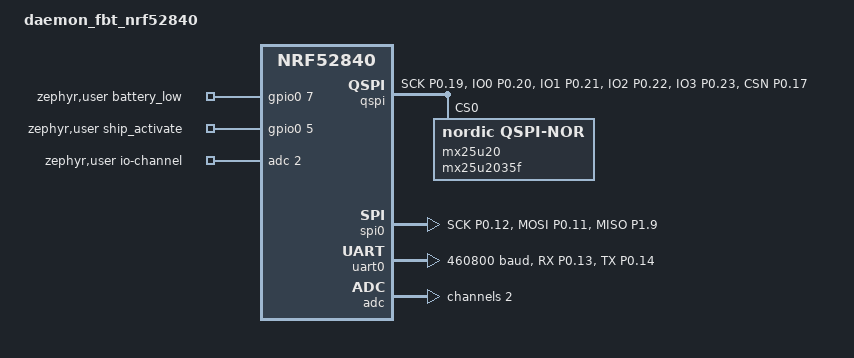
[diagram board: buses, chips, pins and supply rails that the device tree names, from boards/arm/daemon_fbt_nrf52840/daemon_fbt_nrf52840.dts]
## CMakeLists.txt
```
cmake_minimum_required(VERSION 3.20.0)
find_package(Zephyr REQUIRED HINTS $ENV{ZEPHYR_BASE})

project(daemon_fbt_v1)

zephyr_library_include_directories(${ZEPHYR_BASE}/drivers/flash)

FILE(GLOB sources src/*.c)
target_sources(app PRIVATE ${sources} ${flash_srcs})
```

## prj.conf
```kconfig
CONFIG_LOG=y
CONFIG_CLOCK_CONTROL_NRF_K32SRC_RC=y
CONFIG_SPI=y
CONFIG_PINCTRL=y
CONFIG_ESB=y
CONFIG_FLASH=y
CONFIG_GPIO=y
CONFIG_NORDIC_QSPI_NOR=y
CONFIG_STDOUT_CONSOLE=y
CONFIG_SERIAL=y
CONFIG_UART_ASYNC_API=y
CONFIG_UART_INTERRUPT_DRIVEN=y
CONFIG_CONSOLE=y
CONFIG_UART_CONSOLE=y
CONFIG_UART_LINE_CTRL=y
CONFIG_ADC_ASYNC=y
CONFIG_ADC=y

# stuff for DFU over UART
CONFIG_BOOTLOADER_MCUBOOT=y
CONFIG_IMG_MANAGER=y
CONFIG_MCUMGR_GRP_IMG=y
CONFIG_MCUMGR_GRP_OS=y
CONFIG_IMG_ERASE_PROGRESSIVELY=y
CONFIG_SYSTEM_WORKQUEUE_STACK_SIZE=2304
CONFIG_MAIN_STACK_SIZE=2048
CONFIG_FLASH_MAP=y
CONFIG_NET_BUF=y
CONFIG_ZCBOR=y
CONFIG_CRC=y
CONFIG_MCUMGR=y
CONFIG_STREAM_FLASH=y
CONFIG_BASE64=y
CONFIG_MCUMGR_TRANSPORT_UART=y
CONFIG_SHELL=y
CONFIG_SHELL_BACKEND_SERIAL=n
CONFIG_MCUMGR_GRP_SHELL=y
CONFIG_SHELL_BACKEND_DUMMY=y
CONFIG_FLASH_PAGE_LAYOUT=y
CONFIG_MCUBOOT_UTIL_LOG_LEVEL_WRN=y
```

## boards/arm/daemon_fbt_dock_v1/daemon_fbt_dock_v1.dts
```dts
// Copyright (c) 2024 Nordic Semiconductor ASA
// SPDX-License-Identifier: Apache-2.0

/dts-v1/;
#include <nordic/nrf52820_qdaa.dtsi>

/ {
	model = "daemon_fbt_dock_v1";
	compatible = "daemon,daemon-fbt-dock-v1";

	chosen {
		zephyr,sram = &sram0;
		zephyr,flash = &flash0;
		zephyr,code-partition = &slot0_partition;
	};

	zephyr,user {
		led-gpios = <&gpio0 18 0>;
	};
};

&flash0 {
	partitions {
		compatible = "fixed-partitions";
		#address-cells = <1>;
		#size-cells = <1>;

		boot_partition: partition@0 {
			label = "mcuboot";
			reg = <0x0 0xc000>;
		};
		slot0_partition: partition@c000 {
			label = "image-0";
			reg = <0xc000 0x12000>;
		};
		slot1_partition: partition@1e000 {
			label = "image-1";
			reg = <0x1e000 0x12000>;
		};
		scratch_partition: partition@30000 {
			label = "image-scratch";
			reg = <0x30000 0xa000>;
		};
		storage_partition: partition@3a000 {
			label = "storage";
			reg = <0x3a000 0x6000>;
		};
	};
};


&usbd {
	status = "okay";
};

&gpio0 {
	status = "okay";
};
```

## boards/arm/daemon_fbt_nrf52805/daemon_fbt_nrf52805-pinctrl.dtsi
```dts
&pinctrl {
	spi0_default: spi0_default {
		group1 {
			psels = <NRF_PSEL(SPIM_SCK, 0, 12)>,
				<NRF_PSEL(SPIM_MOSI, 0, 16)>,
				<NRF_PSEL(SPIM_MISO, 0, 18)>;
		};
	};

	spi0_sleep: spi0_sleep {
		group1 {
			psels = <NRF_PSEL(SPIM_SCK, 0, 12)>,
				<NRF_PSEL(SPIM_MOSI, 0, 16)>,
				<NRF_PSEL(SPIM_MISO, 0, 18)>;
			low-power-enable;
		};
	};
};
```

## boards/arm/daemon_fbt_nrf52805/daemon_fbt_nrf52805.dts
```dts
// Copyright (c) 2024 Nordic Semiconductor ASA
// SPDX-License-Identifier: Apache-2.0

/dts-v1/;
#include <nordic/nrf52805_caaa.dtsi>
#include "daemon_fbt_nrf52805-pinctrl.dtsi"

/ {
	model = "daemon_fbt_nrf52805";
	compatible = "daemonxr,daemon-fbt-nrf52805";

	chosen {
		zephyr,sram = &sram0;
		zephyr,flash = &flash0;
		zephyr,code-partition = &slot0_partition;
	};
};

//TODO: enable one input gpio, for the BHI360 interrupt signal
// the interrupt signal comes in at Pin 0.05 as push-pull, active high, low drive level
// 2 options: 1. use zephyr gpio driver or 2. use nrfx gpiote driver

&gpio0 {
	status = "okay";
};

&spi0 {
	compatible = "nordic,nrf-spi";
	status = "okay";
	pinctrl-0 = <&spi0_default>;
	pinctrl-1 = <&spi0_sleep>;
	pinctrl-names = "default", "sleep";
	cs-gpios = <&gpio0 21 GPIO_ACTIVE_LOW>;
	bhi360: spi-device@0 {
		compatible = "spi-device";
		reg = <0>;
		spi-max-frequency = <20000000>;
		label = "imu";
	};
};

&flash0 {
	partitions {
		compatible = "fixed-partitions";
		#address-cells = <1>;
		#size-cells = <1>;

		boot_partition: partition@0 {
			label = "mcuboot";
			reg = <0x0 0xc000>;
		};
		slot0_partition: partition@c000 {
			label = "image-0";
			reg = <0xc000 0xa000>;
		};
		slot1_partition: partition@16000 {
			label = "image-1";
			reg = <0x16000 0xa000>;
		};
		scratch_partition: partition@20000 {
			label = "image-scratch";
			reg = <0x20000 0xa000>;
		};
		storage_partition: partition@2a000 {
			label = "storage";
			reg = <0x2a000 0x6000>;
		};
	};
};
```

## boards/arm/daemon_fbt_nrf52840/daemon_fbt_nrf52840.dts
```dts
// Copyright (c) 2024 Nordic Semiconductor ASA
// SPDX-License-Identifier: Apache-2.0

/dts-v1/;
#include <nordic/nrf52840_qfaa.dtsi>

/ {
	model = "daemon_fbt_nrf52840";
	compatible = "daemon,daemon-fbt-nrf52840";

	chosen {
		zephyr,console = &uart0;
		// zephyr,shell-uart = &uart0;
		zephyr,uart-mcumgr = &uart0;
		zephyr,sram = &sram0;
		zephyr,flash = &flash0;
		zephyr,code-partition = &slot0_partition;
	};
	
	aliases {
		spi-flash0 = &mx25u20;
	};

	reserved-memory {
		#address-cells = <1>;
		#size-cells = <1>;
		ranges;
	};

	zephyr,user {
		io-channels = <&adc 2>;
		battery_low-gpios = <&gpio0 7 0>;
		ship_activate-gpios = <&gpio0 5 0>;
	};
};

&flash0 {
	partitions {
		compatible = "fixed-partitions";
		#address-cells = <1>;
		#size-cells = <1>;

		boot_partition: partition@0 {
			label = "mcuboot";
			reg = <0x0 0xc000>;
		};
		slot0_partition: partition@c000 {
			label = "image-0";
			reg = <0xc000 0x72000>;
		};
		slot1_partition: partition@7e000 {
			label = "image-1";
			reg = <0x7e000 0x72000>;
		};
		scratch_partition: partition@f0000 {
			label = "image-scratch";
			reg = <0xf0000 0xa000>;
		};
		storage_partition: partition@fa000 {
			label = "storage";
			reg = <0xfa000 0x6000>;
		};
	};
};


&gpio0 {
	status = "okay";
};

&qspi {
	status = "okay";
	pinctrl-0 = <&qspi_default>;
	pinctrl-names = "default";
	mx25u20: mx25u2035f@0 {
		compatible = "nordic,qspi-nor";
		reg = <0>;
		/* MX25U20 supports only pp and pp4io */
		writeoc = "pp4io";
		/* MX25U20 supports all readoc options */
		readoc = "read4io";
		sck-frequency = <32000000>;
		jedec-id = [c2 25 32];
		sfdp-bfp = [
			e5 20 f1 ff  ff ff 1f 00  44 eb 08 6b
			ee ff ff ff  ff ff 00 ff  ff ff 00 f2
			10 d8 00 ff  23 72 f5 00  82 ed 04 a4
			30 b0 30 b0  f7 c4 d5 5c  00 be 29 ff
		];
		size = <2097152>;
		t-enter-dpd = <10000>;
		t-exit-dpd = <35000>;
		partitions {
			compatible = "fixed-partitions";
			#address-cells = <1>;
			#size-cells = <1>;
		};
	};
};

imu_gpio: &gpio1 {
	compatible = "nordic,nrf-gpio";
	status = "okay";
	port = <1>;
};

imu_spi: &spi0 {
	compatible = "nordic,nrf-spim";
	status = "okay";
	pinctrl-0 = <&spi1_default>;
	pinctrl-names = "default";
	cs-gpios = <&gpio1 8 GPIO_ACTIVE_LOW>;
	// bhi360: spi-device@0 {
	// 	compatible = "daemon,spi-device";
	// 	reg = <0>;
	// 	spi-max-frequency = <4000000>;
	// };
};

&pinctrl {
	spi1_default: spi0_default {
		group1 {
			psels = <NRF_PSEL(SPIM_SCK, 0, 12)>,
					<NRF_PSEL(SPIM_MOSI, 0, 11)>,
					<NRF_PSEL(SPIM_MISO, 1, 9)>;
		};
	};

	qspi_default: qspi_default {
		group1 {
			psels = <NRF_PSEL(QSPI_SCK, 0, 19)>,
					<NRF_PSEL(QSPI_IO0, 0, 20)>,
					<NRF_PSEL(QSPI_IO1, 0, 21)>,
					<NRF_PSEL(QSPI_IO2, 0, 22)>,
					<NRF_PSEL(QSPI_IO3, 0, 23)>,
					<NRF_PSEL(QSPI_CSN, 0, 17)>;
			nordic,drive-mode = <NRF_DRIVE_H0H1>;
		};
	};

	uart0_default: uart0_default {
		group1 {
			psels = <NRF_PSEL(UART_RX, 0, 13)>, <NRF_PSEL(UART_TX, 0, 14)>;
		};
	};
};

&uart0 {
	status = "okay";
	pinctrl-0 = <&uart0_default>;
	pinctrl-names = "default";
	current-speed = <460800>;
};

&adc {
	status = "okay";
	#address-cells = <1>;
	#size-cells = <0>;

	// max input = ref/gain = 0.6V/(1/3) = 1.8V
	channel@2 {
		reg = <2>;
		zephyr,gain = "ADC_GAIN_1_3";
		zephyr,reference = "ADC_REF_INTERNAL"; // 0.6V
		zephyr,acquisition-time = <ADC_ACQ_TIME_DEFAULT>;
		zephyr,input-positive = <NRF_SAADC_AIN2>;
		zephyr,resolution = <8>;
	};
};
```

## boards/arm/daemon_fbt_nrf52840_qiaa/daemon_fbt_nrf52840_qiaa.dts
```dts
// Copyright (c) 2024 Nordic Semiconductor ASA
// SPDX-License-Identifier: Apache-2.0

/dts-v1/;
#include <nordic/nrf52840_qiaa.dtsi>

/ {
	model = "daemon_fbt_nrf52840_qiaa";
	compatible = "daemon,daemon-fbt-nrf52840-qiaa";

	chosen {
		zephyr,console = &uart0;
		zephyr,uart-mcumgr = &uart0;
		zephyr,sram = &sram0;
		zephyr,flash = &flash0;
		zephyr,code-partition = &slot0_partition;
	};

	aliases {
		spi-flash0 = &mx25u20;
	};

	reserved-memory {
		#address-cells = <1>;
		#size-cells = <1>;
		ranges;
	};

	zephyr,user {
		io-channels = <&adc 0>;
		battery_low-gpios = <&gpio1 15 0>;
		ship_activate-gpios = <&gpio0 26 0>;
	};
};

&flash0 {
	partitions {
		compatible = "fixed-partitions";
		#address-cells = <1>;
		#size-cells = <1>;

		boot_partition: partition@0 {
			label = "mcuboot";
			reg = <0x0 0xc000>;
		};
		slot0_partition: partition@c000 {
			label = "image-0";
			reg = <0xc000 0x72000>;
		};
		slot1_partition: partition@7e000 {
			label = "image-1";
			reg = <0x7e000 0x72000>;
		};
		scratch_partition: partition@f0000 {
			label = "image-scratch";
			reg = <0xf0000 0xa000>;
		};
		storage_partition: partition@fa000 {
			label = "storage";
			reg = <0xfa000 0x6000>;
		};
	};
};

&gpio1 {
	status = "okay";
};

&qspi {
	status = "okay";
	pinctrl-0 = <&qspi_default>;
	pinctrl-names = "default";
	mx25u20: mx25u2035f@0 {
		compatible = "nordic,qspi-nor";
		reg = <0>;
		/* MX25U20 supports only pp and pp4io */
		writeoc = "pp4io";
		/* MX25U20 supports all readoc options */
		readoc = "read4io";
		sck-frequency = <32000000>;
		jedec-id = [c2 25 32];
		sfdp-bfp = [
			e5 20 f1 ff  ff ff 1f 00  44 eb 08 6b
			ee ff ff ff  ff ff 00 ff  ff ff 00 f2
			10 d8 00 ff  23 72 f5 00  82 ed 04 a4
			30 b0 30 b0  f7 c4 d5 5c  00 be 29 ff
		];
		size = <2097152>;
		t-enter-dpd = <10000>;
		t-exit-dpd = <35000>;
		partitions {
			compatible = "fixed-partitions";
			#address-cells = <1>;
			#size-cells = <1>;
		};
	};
};

imu_gpio: &gpio0 {
	compatible = "nordic,nrf-gpio";
	status = "okay";
	port = <0>;
};

imu_spi: &spi0 {
	compatible = "nordic,nrf-spim";
	status = "okay";
	pinctrl-0 = <&spi1_default>;
	pinctrl-names = "default";
	cs-gpios = <&gpio0 12 GPIO_ACTIVE_LOW>;
	// bhi360: spi-device@0 {
	// 	compatible = "daemon,spi-device";
	// 	reg = <0>;
	// 	spi-max-frequency = <4000000>;
	// };
};

&pinctrl {
	spi1_default: spi0_default {
		group1 {
			psels = <NRF_PSEL(SPIM_SCK, 1, 9)>,
					<NRF_PSEL(SPIM_MOSI, 0, 8)>,
					<NRF_PSEL(SPIM_MISO, 0, 6)>;
		};
	};

	qspi_default: qspi_default {
		group1 {
			psels = <NRF_PSEL(QSPI_SCK, 0, 15)>,
					<NRF_PSEL(QSPI_IO0, 0, 17)>,
					<NRF_PSEL(QSPI_IO1, 0, 20)>,
					<NRF_PSEL(QSPI_IO2, 0, 22)>,
					<NRF_PSEL(QSPI_IO3, 0, 24)>,
					<NRF_PSEL(QSPI_CSN, 0, 13)>;
			nordic,drive-mode = <NRF_DRIVE_H0H1>;
		};
	};

	uart0_default: uart0_default {
		group1 {
			psels = <NRF_PSEL(UART_RX, 1, 13)>, <NRF_PSEL(UART_TX, 1, 10)>;
		};
	};
};

&uart0 {
	status = "okay";
	pinctrl-0 = <&uart0_default>;
	pinctrl-names = "default";
	current-speed = <460800>;
};

&adc {
	status = "okay";
	#address-cells = <1>;
	#size-cells = <0>;

	// max input = ref/gain = 0.6V/(1/3) = 1.8V
	channel@0 {
		reg = <0>;
		zephyr,gain = "ADC_GAIN_1_3";
		zephyr,reference = "ADC_REF_INTERNAL"; // 0.6V
		zephyr,acquisition-time = <ADC_ACQ_TIME_DEFAULT>;
		zephyr,input-positive = <NRF_SAADC_AIN0>;
		zephyr,resolution = <8>;
	};
};
```

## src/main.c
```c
#include <zephyr/drivers/clock_control/nrf_clock_control.h>
#include <zephyr/drivers/flash/nrf_qspi_nor.h>
#include <zephyr/drivers/clock_control.h>
#include <zephyr/drivers/gpio.h>
#include <zephyr/drivers/uart.h>
#include <zephyr/drivers/adc.h>
#include <zephyr/drivers/spi.h>
#include <zephyr/devicetree.h>
#include <zephyr/sys/printk.h>
#include <zephyr/sys/util.h>
#include <zephyr/device.h>
#include <zephyr/kernel.h>
#include <zephyr/types.h>
#include <zephyr/init.h>
#include <zephyr/irq.h>
#include <inttypes.h>
#include <string.h>
#include <stddef.h>
#include "bhi360.h"
#include <stdio.h>
#include <nrf.h>
#include <esb.h>
/*

#define ZEPHYR_USER_NODE DT_PATH(zephyr_user)
const struct gpio_dt_spec battery_low = GPIO_DT_SPEC_GET(ZEPHYR_USER_NODE, battery_low_gpios);

*/
#define _RADIO_SHORTS_COMMON                                                   \
	(RADIO_SHORTS_READY_START_Msk | RADIO_SHORTS_END_DISABLE_Msk |         \
	 RADIO_SHORTS_ADDRESS_RSSISTART_Msk |                                  \
	 RADIO_SHORTS_DISABLED_RSSISTOP_Msk)


int clocks_start(void)
{
	int err;
	int res;
	struct onoff_manager *clk_mgr;
	struct onoff_client clk_cli;

	clk_mgr = z_nrf_clock_control_get_onoff(CLOCK_CONTROL_NRF_SUBSYS_HF);
	sys_notify_init_spinwait(&clk_cli.notify);
	onoff_request(clk_mgr, &clk_cli);

	do {
	    err = sys_notify_fetch_result(&clk_cli.notify, &res);
		if (!err && res) {
            // clock could not be started
			return res;
		}
	} while (err);

	return 0;
}

int esb_initialize(void)
{
	//These are arbitrary default addresses. In end user products
	//different addresses should be used for each set of devices.
	 
	uint8_t base_addr_0[4] = {0xE7, 0xE7, 0xE7, 0xE7};
	uint8_t base_addr_1[4] = {0xC2, 0xC2, 0xC2, 0xC2};
	uint8_t addr_prefix[8] = {0xE7, 0xC2, 0xC3, 0xC4, 0xC5, 0xC6, 0xC7, 0xC8};

	struct esb_config config = ESB_DEFAULT_CONFIG;

	config.protocol = ESB_PROTOCOL_ESB_DPL;
	config.retransmit_delay = 600;
	config.bitrate = ESB_BITRATE_2MBPS;
	config.event_handler = NULL;
	config.mode = ESB_MODE_PTX;
	config.selective_auto_ack = true;

	esb_init(&config);
	esb_set_base_address_0(base_addr_0);
	esb_set_base_address_1(base_addr_1);
	esb_set_prefixes(addr_prefix, ARRAY_SIZE(addr_prefix));

	return 0;
}

static struct esb_payload tx_payload = ESB_CREATE_PAYLOAD(0, 0x00, 0x00, 0x00, 0x00, 0x00, 0x00, 0x00, 0x00, 0x00, 0x00, 0x00, 0x00, 0x00, 0x00);

int main(void) {
	printk("build time: " __DATE__ " " __TIME__);
	// while (1) {
	// 		printk("AYOOOO!\n");
	// 		k_sleep(K_MSEC(1000));
	// }
    clocks_start();
	esb_initialize();

	struct spi_cs_control spi_cs = {
		//P1.08 as CS pin
		.gpio = {
			.port = DEVICE_DT_GET(DT_NODELABEL(imu_gpio)),
			.pin = 8,
			.dt_flags = GPIO_ACTIVE_LOW | GPIO_OPEN_DRAIN
		},
		.delay = 0
	};

	struct spi_config spi_cfg = {
		.frequency = 20000000,
		.operation = SPI_WORD_SET(8) | SPI_TRANSFER_MSB,
		.slave = 0,
		.cs = spi_cs
	};

	struct spi_dt_spec spi_spec = {
		.bus = DEVICE_DT_GET(DT_NODELABEL(imu_spi)),
		.config = spi_cfg
	};

	// initialize BHI360
	reset_imu(&spi_spec);
	mask_all_interrupts(&spi_spec);
	read_interrupt_register(&spi_spec);
	wait_for_interface_ready(&spi_spec);
	read_fuser2_id(&spi_spec);
	read_fuser2_revision(&spi_spec);
	read_fuser2_rom_version(&spi_spec);
	write_firmware(&spi_spec);
	wait_for_firmware_verified(&spi_spec);
	boot_bhi360_program_ram(&spi_spec);
	wait_for_interface_ready(&spi_spec);
	read_wakeup_fifo_initialized(&spi_spec);
	read_non_wakeup_fifo_initialized(&spi_spec);
	read_interrupt_status_register(&spi_spec);

	// check if game rotation is available
	read_sensor_present(&spi_spec);
	k_msleep(100);
	read_interrupt_status_register(&spi_spec);

	// enable non-wakeup game rotation and read non-wakeup FIFO
	read_game_rotation_virtual_sensor_information(&spi_spec);
	k_msleep(100);
	read_interrupt_status_register(&spi_spec);
	read_game_rotation_virtual_sensor_configuration(&spi_spec);
	k_msleep(100);
	configure_game_rotation_sensor(&spi_spec);
	k_msleep(100);
	configure_linear_acceleration_sensor(&spi_spec);
	k_msleep(100);
	read_interrupt_status_register(&spi_spec);
	k_msleep(100);
	read_game_rotation_virtual_sensor_configuration(&spi_spec);
	k_msleep(100);
	read_interrupt_status_register(&spi_spec);

	// quat is 8 bytes
	struct quaternion quat;
	struct acc_vector vec;

	while (1) {
		read_non_wakeup_fifo(&spi_spec, &quat, &vec);
		esb_flush_tx();
		tx_payload.data[0] = quat.x & 0xFF;
		tx_payload.data[1] = (quat.x & 0xFF00) >> 8;
		tx_payload.data[2] = quat.y & 0xFF;
		tx_payload.data[3] = (quat.y & 0xFF00) >> 8;
		tx_payload.data[4] = quat.z & 0xFF;
		tx_payload.data[5] = (quat.z & 0xFF00) >> 8;
		tx_payload.data[6] = quat.w & 0xFF;
		tx_payload.data[7] = (quat.w & 0xFF00) >> 8;

		tx_payload.data[8] = vec.x & 0xFF;
		tx_payload.data[9] = (vec.x & 0xFF00) >> 8;
		tx_payload.data[10] = vec.y & 0xFF;
		tx_payload.data[11] = (vec.y & 0xFF00) >> 8;
		tx_payload.data[12] = vec.z & 0xFF;
		tx_payload.data[13] = (vec.z & 0xFF00) >> 8;
		esb_write_payload(&tx_payload);
		// better throughput with a little wait time
		k_sleep(K_MSEC(1));
	}

	return 0;
}
```

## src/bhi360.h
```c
#define FLASH_NODE DT_COMPAT_GET_ANY_STATUS_OKAY(nordic_qspi_nor)

#define HOST_INTERFACE_READY_BIT 1 << 4
#define FIRMWARE_VERIFY_DONE_BIT 1 << 5
#define FIRMWARE_VERIFY_FAILED_BIT 1 << 6
#define N_READ_DUMMY_BYTES 1

#define READ_REG(reg) (reg | 1 << 7)
#define WRITE_REG(reg) (reg)

struct quaternion {
	uint16_t x;
	uint16_t y;
	uint16_t z;
	uint16_t w;
};

struct acc_vector {
	uint16_t x;
	uint16_t y;
	uint16_t z;
};

int reset_imu(struct spi_dt_spec *);
int mask_all_interrupts(struct spi_dt_spec *);
int read_interrupt_register(struct spi_dt_spec *);
int wait_for_interface_ready(struct spi_dt_spec *);
int read_fuser2_id(struct spi_dt_spec *);
int read_fuser2_revision(struct spi_dt_spec *);
int read_fuser2_rom_version(struct spi_dt_spec *);
int write_firmware(struct spi_dt_spec *);
int wait_for_firmware_verified(struct spi_dt_spec *);
int boot_bhi360_program_ram(struct spi_dt_spec *);
int read_wakeup_fifo_initialized(struct spi_dt_spec *);
int read_non_wakeup_fifo_initialized(struct spi_dt_spec *);
int read_interrupt_status_register(struct spi_dt_spec *);
int read_sensor_present(struct spi_dt_spec *);
int read_game_rotation_virtual_sensor_information(struct spi_dt_spec *);
int read_game_rotation_virtual_sensor_configuration(struct spi_dt_spec *);
int configure_game_rotation_sensor(struct spi_dt_spec *);
int configure_linear_acceleration_sensor(struct spi_dt_spec *);
int read_non_wakeup_fifo(struct spi_dt_spec *, struct quaternion *, struct acc_vector *);
```
